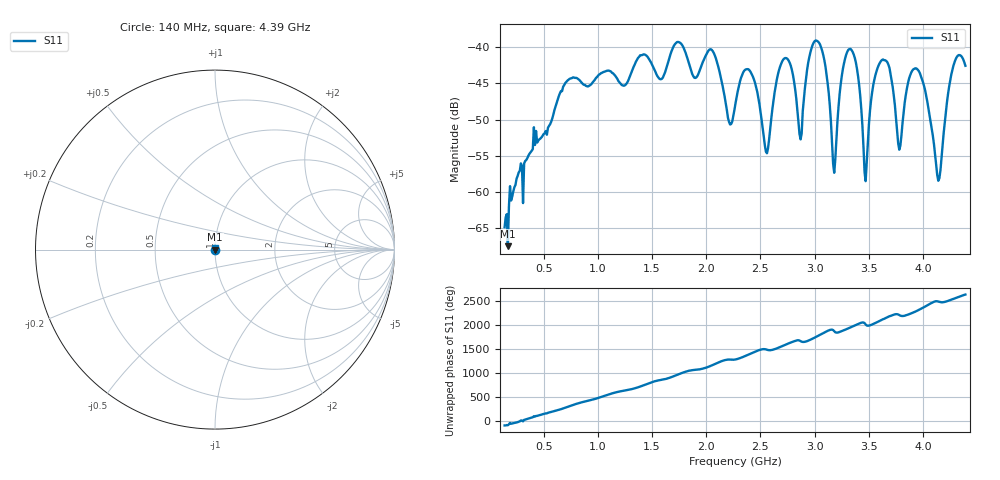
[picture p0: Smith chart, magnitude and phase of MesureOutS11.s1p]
! 140 4400 10
# MHz S MA R 50.0
!freq ReS11 ImS11
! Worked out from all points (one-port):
!   426 points, 140 MHz to 4.39 GHz, reference 50 ohm
!   lowest |S11| = -67.6 dB at 170 MHz (marker M1), VSWR 1.00, Z = 50 - j0.0418 ohm
!   |S11| at or under -10 dB: start of sweep to end of sweep
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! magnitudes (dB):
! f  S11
! 140 MHz  -64.9
! 170 MHz  -67.6
! 680 MHz  -45.4
! 1.21 GHz  -45.0
! 1.74 GHz  -39.2
! 2.05 GHz  -40.3
! 2.21 GHz  -50.3
! 2.27 GHz  -47.7
! 2.41 GHz  -43.4
! 2.56 GHz  -54.7
! 2.69 GHz  -42.3
! 2.8 GHz  -43.9
! 2.87 GHz  -52.8
! 2.96 GHz  -40.7
! 3.05 GHz  -39.6
! 3.18 GHz  -57.4
! 3.25 GHz  -44.0
! 3.33 GHz  -40.2
! 3.4 GHz  -44.0
! 3.47 GHz  -58.6
! 3.6 GHz  -42.2
! 3.69 GHz  -42.9
! 3.78 GHz  -54.2
! 3.86 GHz  -45.0
! 3.99 GHz  -44.4
! 4.14 GHz  -58.5
! 4.27 GHz  -43.1
! 4.39 GHz  -42.5
